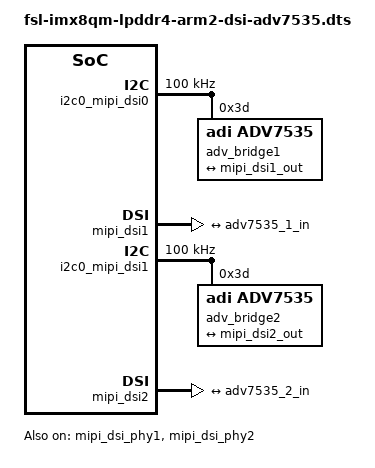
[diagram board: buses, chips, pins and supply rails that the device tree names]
/*
 * Copyright 2017 NXP
 *
 * This program is free software; you can redistribute it and/or
 * modify it under the terms of the GNU General Public License
 * as published by the Free Software Foundation; either version 2
 * of the License, or (at your option) any later version.
 *
 * This program is distributed in the hope that it will be useful,
 * but WITHOUT ANY WARRANTY; without even the implied warranty of
 * MERCHANTABILITY or FITNESS FOR A PARTICULAR PURPOSE.  See the
 * GNU General Public License for more details.
 */

#include "fsl-imx8qm-lpddr4-arm2.dts"

&hdmi {
	status = "disabled";
};

&ldb1_phy {
	status = "disabled";
};

&ldb1 {
	status = "disabled";
};

&ldb2_phy {
	status = "disabled";
};

&ldb2 {
	status = "disabled";
};

&i2c0_mipi_dsi0 {
	#address-cells = <1>;
	#size-cells = <0>;
	pinctrl-names = "default";
	pinctrl-0 = <&pinctrl_mipi0_lpi2c0>;
	clock-frequency = <100000>;
	status = "okay";

	adv_bridge1: adv7535@3d {
		compatible = "adi,adv7535", "adi,adv7533";
		reg = <0x3d>;
		adi,dsi-lanes = <4>;
		status = "okay";

		port {
			adv7535_1_in: endpoint {
				remote-endpoint = <&mipi_dsi1_out>;
			};
		};
	};
};

&mipi_dsi_phy1 {
	status = "okay";
};

&mipi_dsi1 {
	status = "okay";

	port@1 {
		mipi_dsi1_out: endpoint {
			remote-endpoint = <&adv7535_1_in>;
		};
	};
};

&i2c0_mipi_dsi1 {
	#address-cells = <1>;
	#size-cells = <0>;
	pinctrl-names = "default";
	pinctrl-0 = <&pinctrl_mipi1_lpi2c0>;
	clock-frequency = <100000>;
	status = "okay";

	adv_bridge2: adv7535@3d {
		compatible = "adi,adv7535", "adi,adv7533";
		reg = <0x3d>;
		adi,dsi-lanes = <4>;
		status = "okay";

		port {
			adv7535_2_in: endpoint {
				remote-endpoint = <&mipi_dsi2_out>;
			};
		};
	};
};

&mipi_dsi_phy2 {
	status = "okay";
};

&mipi_dsi2 {
	status = "okay";

	port@1 {
		mipi_dsi2_out: endpoint {
			remote-endpoint = <&adv7535_2_in>;
		};
	};
};
